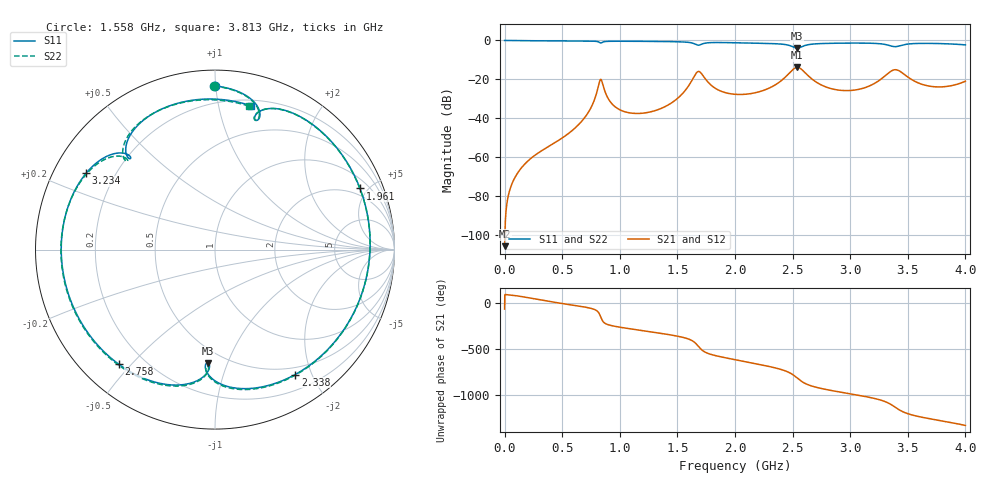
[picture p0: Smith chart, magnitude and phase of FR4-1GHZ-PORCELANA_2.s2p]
! TOUCHSTONE file generated by CST MICROWAVE STUDIO
! Date and time: Thu Oct 30 15:02:35 2025
! Project name: ResonadorAnillo_PadsGndDesplazados_AnchoPistaPin.cst
! Parameters = {Eeff=3.2262; Er=4.3; H=1.56; L1=41.7557; L2=41.7557; L_Ang=8.68; L_AngTrans=1; L_Base=6.5; L_PadGND=4; L_Pin=4; L_conn=4; L_sma=8.5; Landa=167.023; R_Diel=2.08; R_Pin=0.45; R_sma=2.58; T=0.035; T_teflom=1.52; W=2.6; W_Base=1.5; W_PadGND=1.8; W_PistaPin=2.5; W_conn=0.9; Wa=2.6; X=70; 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
! Header version: 2024
! Port assignment regex: !\s*Touchstone port\s*([0-9]+)\s*=\s*(CST MWS port|CST DES external port|CST DES block port)\s*(.+)\s* \(\"(.*)\"\)(\s*mode\s*([0-9]+))?.*
! Touchstone port assignment:
! Touchstone port 1 = CST MWS port 1 ("")
! Touchstone port 2 = CST MWS port 2 ("")
# GHz S MA R 62.5
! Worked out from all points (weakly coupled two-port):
!   5000 points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, 800 kHz to 4 GHz, reference 62.5 ohm
!   highest |S21| = -13.82 dB at 2.542 GHz (marker M1); lowest = -105.7 dB at 1.6 MHz (marker M2)
!   lowest |S11| = -4.0 dB at 2.541 GHz (marker M3), VSWR 4.44, Z = 25.3 - j53.2 ohm
!   |S11| at or under -10 dB: nowhere
!   |S22| runs from -3.7 to 0.0 dB; largest |S21 - S12| = 9e-10
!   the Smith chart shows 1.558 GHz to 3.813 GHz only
!   S11 on the Smith chart (normalised r, x): 1.558 GHz: 0.09, +0.99; 1.961 GHz: 1.51, +4.46; 2.338 GHz: 0.40, -1.76; 2.758 GHz: 0.11, -0.46; 3.234 GHz: 0.10, +0.27; 3.813 GHz: 0.25, +1.25
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0.0008  0.9999 -0.2  5.219e-06 -68.5  5.219e-06 -68.5  0.9999 -0.2
0.0016  0.9999 -0.3  5.163e-06 68.6  5.163e-06 68.6  0.9999 -0.3
0.1528  0.989 -31.9  0.0005595 66.1  0.0005595 66.1  0.989 -32.0
0.3424  0.9772 -70.0  0.001597 23.4  0.001597 23.4  0.9773 -70.0
0.668  0.9649 -129.1  0.00826 -40.2  0.00826 -40.2  0.9651 -128.9
0.8352  0.8604 -156.0  0.1001 -155.1  0.1001 -155.1  0.8621 -155.6
1.0056  0.9551 178.5  0.01627 95.1  0.01627 95.1  0.9552 179.0
1.3344  0.9423 127.6  0.01675 33.9  0.01675 33.9  0.942 128.2
1.5584  0.912 90.1  0.04773 -17.1  0.04773 -17.1  0.9113 90.5
1.6856  0.7563 72.7  0.1596 -115.2  0.1596 -115.2  0.7553 72.9
1.9608  0.8767 22.8  0.04265 114.6  0.04265 114.6  0.8758 22.5
2.0008  0.8722 14.8  0.0413 105.0  0.0413 105.0  0.8715 14.3
2.3384  0.8272 -57.3  0.06895 19.5  0.06895 19.5  0.8299 -57.6
2.5408  0.6326 -93.7  0.2038 -93.8  0.2038 -93.8  0.6495 -93.8
2.5416  0.6326 -93.7  0.2038 -94.6  0.2038 -94.6  0.6496 -93.7
2.6672  0.8029 -111.3  0.1027 179.9  0.1027 179.9  0.8086 -111.4
2.7584  0.8339 -130.0  0.06975 151.1  0.06975 151.1  0.8379 -129.5
2.9944  0.8558 -171.8  0.0516 97.0  0.0516 97.0  0.8578 -170.4
3.2344  0.8348 149.4  0.08661 38.8  0.08661 38.8  0.8352 151.2
3.3336  0.7524 134.3  0.1464 -5.4  0.1464 -5.4  0.7526 136.2
3.8128  0.8258 75.8  0.06462 159.5  0.06462 159.5  0.8213 76.7
4  0.7688 45.3  0.08967 114.0  0.08967 114.0  0.762 45.3
